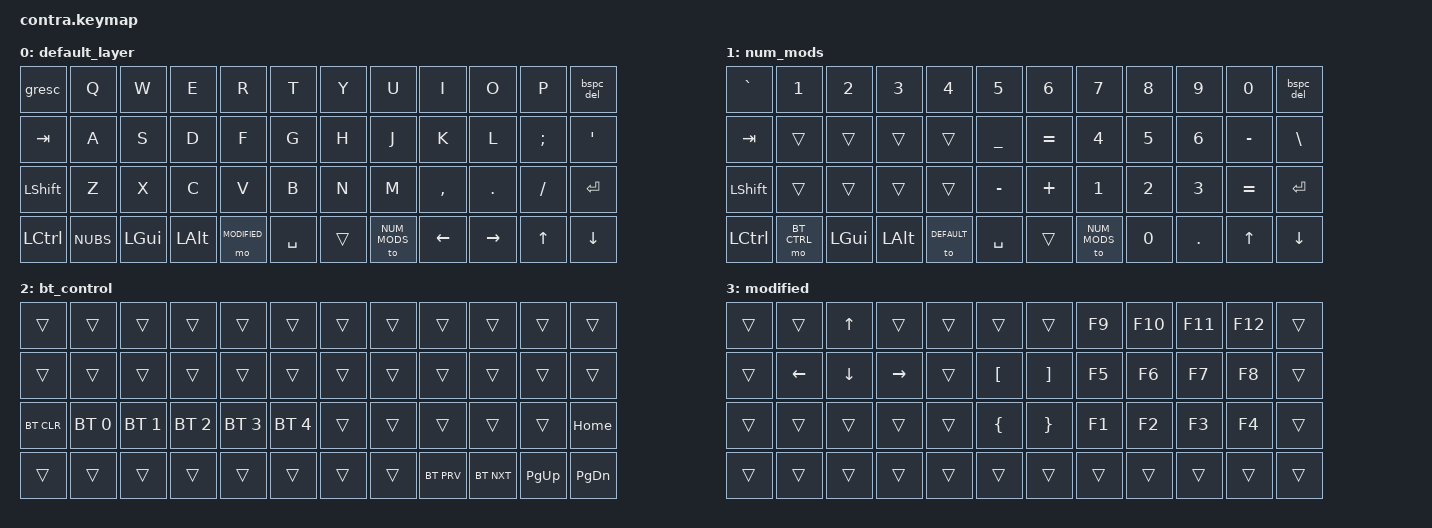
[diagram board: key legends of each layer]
/*
 * Copyright (c) 2021 The ZMK Contributors
 *
 * SPDX-License-Identifier: MIT
 */

#include <behaviors.dtsi>
#include <dt-bindings/zmk/keys.h>
#include <dt-bindings/zmk/bt.h>

#define DEFAULT  0
#define NUM_MODS 1
#define BT_CTRL  2
#define MODIFIED  3

/ {
    behaviors {
        bspc_del: backspace_delete {
            compatible = "zmk,behavior-mod-morph";
            label = "BACKSPACE_DELETE";
            #binding-cells = <0>;
            bindings = <&kp BACKSPACE>, <&kp DELETE>;
            mods = <(MOD_LSFT|MOD_RSFT)>;
            keep-mods = <(MOD_RSFT)>;
        };
    };
    keymap {
        compatible = "zmk,keymap";

        default_layer {
            bindings = <
    &gresc      &kp Q     &kp W    &kp E     &kp R        &kp T      &kp Y     &kp U        &kp I     &kp O     &kp P    &bspc_del
    &kp TAB     &kp A     &kp S    &kp D     &kp F        &kp G      &kp H     &kp J        &kp K     &kp L     &kp SEMI &kp SQT
    &kp LSHFT   &kp Z     &kp X    &kp C     &kp V        &kp B      &kp N     &kp M        &kp COMMA &kp DOT   &kp FSLH &kp ENTER
    &kp LCTRL   &kp NUBS  &kp LGUI &kp LALT  &mo MODIFIED &kp SPACE  &trans    &to NUM_MODS &kp LEFT  &kp RIGHT &kp UP   &kp DOWN
            >;
        };

        num_mods {
            bindings = <
    &kp GRAVE &kp N1        &kp N2   &kp N3   &kp N4      &kp N5     &kp N6    &kp N7       &kp N8    &kp N9     &kp N0     &bspc_del
    &kp TAB   &trans        &trans   &trans   &trans      &kp UNDER  &kp EQUAL &kp N4       &kp N5    &kp N6     &kp MINUS  &kp BSLH
    &kp LSHFT &trans        &trans   &trans   &trans      &kp MINUS  &kp PLUS  &kp N1       &kp N2    &kp N3     &kp EQUAL  &kp ENTER
    &kp LCTRL &mo BT_CTRL   &kp LGUI &kp LALT &to DEFAULT &kp SPACE  &trans    &to NUM_MODS &kp N0    &kp DOT    &kp UP     &kp DOWN
            >;
        };

        bt_control {
            bindings = <
    &trans     &trans       &trans        &trans       &trans       &trans       &trans    &trans    &trans     &trans     &trans    &trans 
    &trans     &trans       &trans        &trans       &trans       &trans       &trans    &trans    &trans     &trans     &trans    &trans
    &bt BT_CLR &bt BT_SEL 0 &bt BT_SEL 1  &bt BT_SEL 2 &bt BT_SEL 3 &bt BT_SEL 4 &trans    &trans    &trans     &trans     &trans    &kp HOME
    &trans     &trans       &trans        &trans       &trans       &trans       &trans    &trans    &bt BT_PRV &bt BT_NXT &kp PG_UP &kp PG_DN
            >;
        };

        modified {
            bindings = <
    &trans     &trans       &kp UP        &trans       &trans       &trans      &trans    &kp F9    &kp F10    &kp F11    &kp F12  &trans 
    &trans     &kp LEFT     &kp DOWN      &kp RIGHT    &trans       &kp LBKT    &kp RBKT  &kp F5    &kp F6     &kp F7     &kp F8   &trans
    &trans     &trans       &trans        &trans       &trans       &kp LBRC    &kp RBRC  &kp F1    &kp F2     &kp F3     &kp F4   &trans 
    &trans     &trans       &trans        &trans       &trans       &trans      &trans    &trans    &trans     &trans     &trans   &trans 
            >;
        };
    };
};
